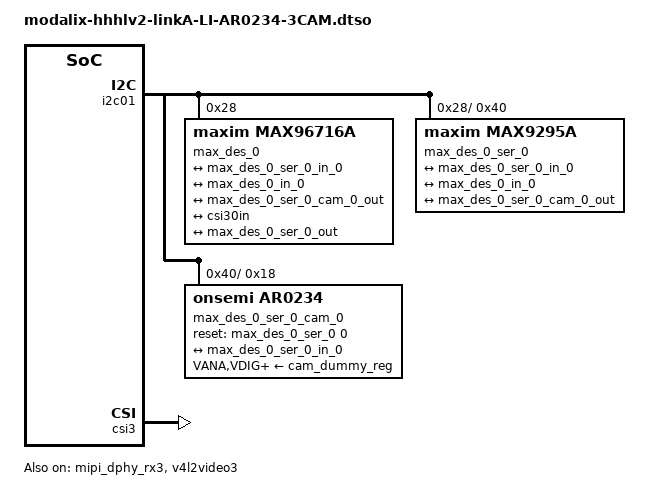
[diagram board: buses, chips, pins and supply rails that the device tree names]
// SPDX-License-Identifier: (GPL-2.0+ OR MIT)
/*
 * Copyright (c) 2026 SiMa ai
 */

/dts-v1/;
/plugin/;

&{/} {
	max_des_0_ser_0_cam_0_xclk: max_des_0_ser_0_cam_0_xclk {
		status = "okay";
		compatible = "fixed-clock";
		#clock-cells = <0>;
		clock-frequency = <27000000>;
	};
};

&i2c01 {
	max_des_0: gmsl-deserializer@28 {
		#address-cells = <1>;
		#size-cells = <0>;

		compatible = "maxim,max96716a";
		reg = <0x28>;
	};
};

&max_des_0 {
	i2c-alias-pool = <0x44 0x45 0x46 0x47>;
	max_des_0_i2c_adapter: i2c-atr {
		#address-cells = <1>;
		#size-cells = <0>;
	};

	ports {
		#address-cells = <1>;
		#size-cells = <0>;
	};
};

&max_des_0 {
	ports {
		port@3 {
			reg = <3>;
			max_des_0_phy_out: endpoint@0 {
				reg = <0>;
				clock-lanes = <0>;
				data-lanes = <1 2>;
				link-frequencies = /bits/ 64 <270000000>;
			};
		};
	};
};

&csi3 {
	status = "okay";
};

&csi30in{
	clock-lanes = <0>;
	data-lanes = <1 2>;
	link-frequencies = /bits/ 64 <270000000>;
	remote-endpoint = <&max_des_0_phy_out>;
};

&max_des_0_phy_out {
	remote-endpoint = <&csi30in>;
};

&max_des_0_i2c_adapter {
	max_des_0_i2c_0: i2c@0 {
		#address-cells = <1>;
		#size-cells = <0>;
		reg = <0x0>;
	};
};

&max_des_0_i2c_0 {
	max_des_0_ser_0: gmsl-serializer@40 {
		#address-cells = <1>;
		#size-cells = <0>;
		#gpio-cells = <2>;

		compatible = "maxim,max9295a";
		reg = <0x40>;

		gpio-controller;
		gpio-ranges = <&max_des_0_ser_0 0 0 11>;
	};
};

&max_des_0_ser_0 {
	i2c-alias-pool = <0x48 0x49>;
	i2c-atr {
		#address-cells = <1>;
		#size-cells = <0>;

		max_des_0_ser_0_i2c_0: i2c@0 {
			#address-cells = <1>;
			#size-cells = <0>;
			reg = <0x0>;
		};
	};

	ports {
		#address-cells = <1>;
		#size-cells = <0>;

		port@1 {
			reg = <1>;
			max_des_0_ser_0_out: endpoint@0 {
				reg = <0>;
				remote-endpoint = <&max_des_0_in_0>;
			};
		};
	};
};

&max_des_0 {
	ports {
		port@0 {
			reg = <0>;
			max_des_0_in_0: endpoint@0 {
				reg = <0>;
				remote-endpoint = <&max_des_0_ser_0_out>;
			};
		};
	};
};

&max_des_0_ser_0_i2c_0 {
	max_des_0_ser_0_cam_0: ar0234@18 {
		compatible = "onsemi,ar0234";
		reg = <0x18>;

		reset-gpios = <&max_des_0_ser_0 0 0>;

		clocks = <&max_des_0_ser_0_cam_0_xclk>;
		clock-names = "xclk";

		VANA-supply = <&cam_dummy_reg>;
		VDIG-supply = <&cam_dummy_reg>;
		VDDL-supply = <&cam_dummy_reg>;

		port@1 {
			max_des_0_ser_0_cam_0_out: endpoint@0 {
				clock-lanes = <0>;
				data-lanes = <1 2>;
				link-frequencies = /bits/ 64 <270000000>;
				remote-endpoint = <&max_des_0_ser_0_in_0>;
				clock-continuous;
			};
		};
	};
};

&max_des_0_ser_0 {
	ports {
		port@0 {
			reg = <0>;
			max_des_0_ser_0_in_0: endpoint@0 {
				reg = <0>;
				clock-lanes = <0>;
				data-lanes = <1 2>;
				link-frequencies = /bits/ 64 <270000000>;
				remote-endpoint = <&max_des_0_ser_0_cam_0_out>;
				clock-continuous;
			};
		};
	};
};

&axi_vdma3 {
	status = "okay";
};

&mipi_dphy_rx3 {
	status = "okay";
};

&v4l2video3 {
	status = "okay";
};

&v4l2vdma3 {
	status = "okay";
};
